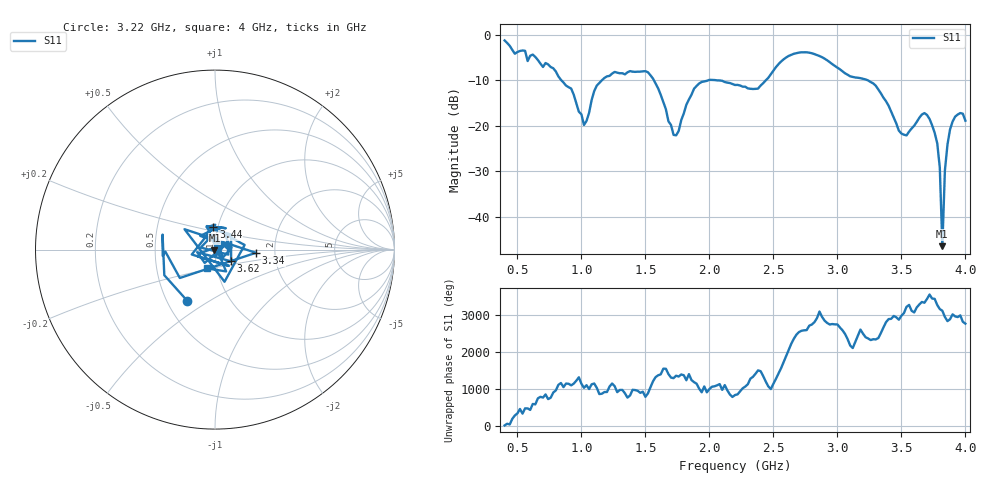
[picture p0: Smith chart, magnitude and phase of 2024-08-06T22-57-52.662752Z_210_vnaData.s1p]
!Created with skrf (http://scikit-rf.org).
# Hz S RI R 50.0
!freq ReS11 ImS11
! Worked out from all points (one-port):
!   181 points, 400 MHz to 4 GHz, reference 50 ohm
!   lowest |S11| = -46.4 dB at 3.82 GHz (marker M1), VSWR 1.01, Z = 49.7 - j0.381 ohm
!   |S11| at or under -10 dB: 1.567 GHz to 1.987 GHz (420 MHz wide, 23.6 % of centre); 2.082 GHz to 2.439 GHz (357.5 MHz wide, 15.8 % of centre); 3.24 GHz to end of sweep (the widest 3 of 4)
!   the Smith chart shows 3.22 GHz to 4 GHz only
!   S11 on the Smith chart (normalised r, x): 3.22 GHz: 0.63, -0.41; 3.34 GHz: 1.59, -0.06; 3.44 GHz: 0.95, +0.24; 3.62 GHz: 1.19, -0.16; 4 GHz: 0.89, -0.19
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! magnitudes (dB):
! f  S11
! 400 MHz  -1.2
! 860 MHz  -10.4
! 920 MHz  -11.8
! 1.02 GHz  -19.8
! 1.12 GHz  -11.1
! 1.3 GHz  -8.4
! 1.52 GHz  -8.2
! 1.72 GHz  -22.0
! 1.76 GHz  -21.1
! 1.92 GHz  -10.7
! 2.2 GHz  -11.0
! 2.38 GHz  -11.8
! 2.66 GHz  -4.1
! 3.1 GHz  -9.1
! 3.22 GHz  -9.8
! 3.34 GHz  -12.8
! 3.44 GHz  -18.1
! 3.5 GHz  -21.7
! 3.56 GHz  -21.2
! 3.62 GHz  -19.1
! 3.7 GHz  -17.6
! 3.78 GHz  -23.8
! 3.8 GHz  -29.1
! 3.82 GHz  -46.4
! 3.84 GHz  -29.8
! 3.88 GHz  -20.8
! 3.96 GHz  -17.2
! 4 GHz  -18.8
